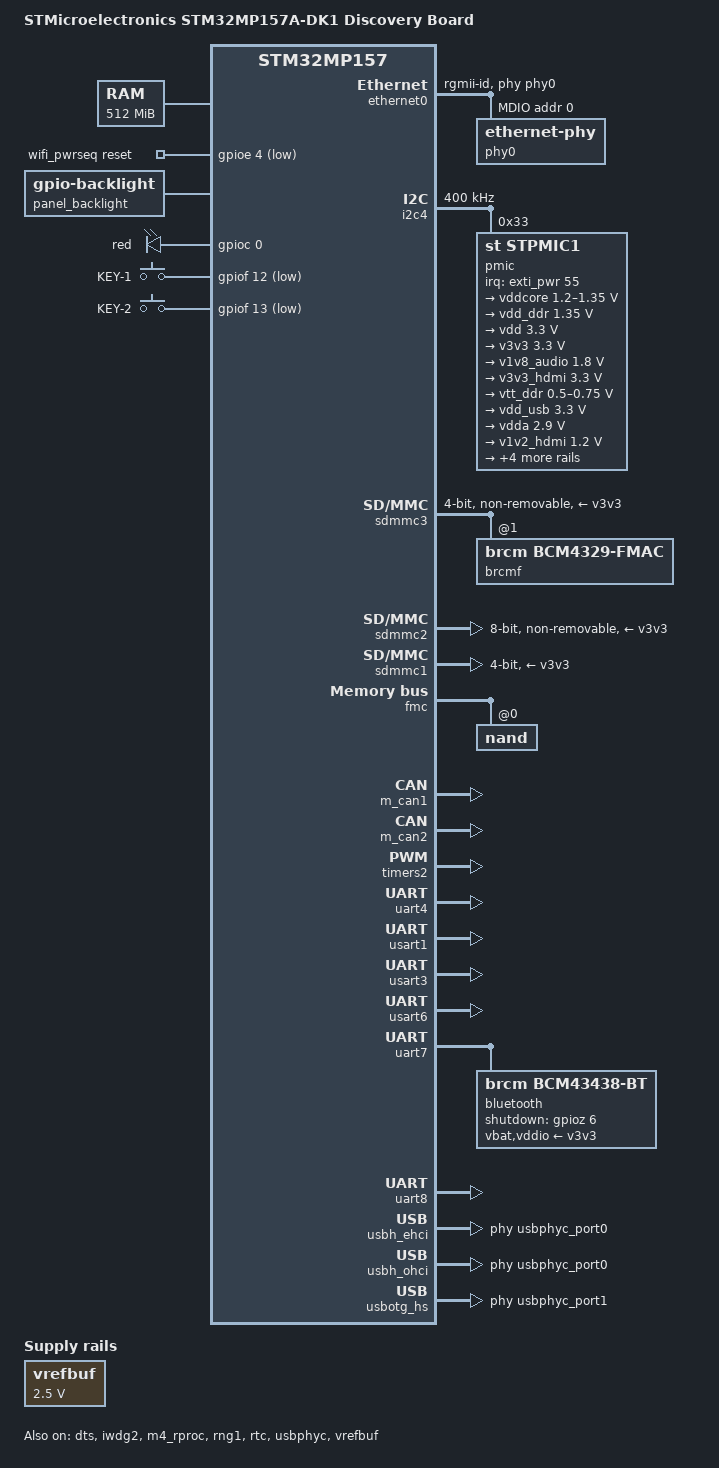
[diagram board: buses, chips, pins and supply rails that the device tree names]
// SPDX-License-Identifier: (GPL-2.0+ OR BSD-3-Clause)
/*
 * Copyright (C) STMicroelectronics 2018 - All Rights Reserved
 * Author: Alexandre Torgue <alexandre.torgue@st.com>.
 */

/dts-v1/;

#include "stm32mp157c.dtsi"
#include "stm32mp157cac-pinctrl.dtsi"
#include "stm32mp157c-m4-srm.dtsi"
#include <dt-bindings/input/input.h>
#include <dt-bindings/mfd/st,stpmic1.h>

/ {
	model = "STMicroelectronics STM32MP157A-DK1 Discovery Board";
	compatible = "st,stm32mp157a-dk1", "st,stm32mp157";

	aliases {
		ethernet0 = &ethernet0;
		serial0 = &uart4;    //debug uart
		serial1 = &usart1;   //初始化异常
		serial2 = &usart3;   //ok
		//serial3 = &uart5;  //默认用作can
		serial4 = &usart6;   //ok
		serial5 = &uart7;    //bt 初始化正常，但无设备节点
		serial6 = &uart8;    //ok
		//serial7 = &usart2; //冲突被占用
	};

	chosen {
		stdout-path = "serial0:115200n8";
	};

	memory@c0000000 {
		reg = <0xc0000000 0x20000000>;
	};

	wifi_pwrseq: wifi-pwrseq {
		compatible = "mmc-pwrseq-simple";
		reset-gpios = <&gpioe 4 GPIO_ACTIVE_LOW>;
	};
/*
	clocks {
		clk_ext_camera: clk-ext-camera {
			#clock-cells = <0>;
			compatible = "fixed-clock";
			clock-frequency = <24000000>;
		};
	};
*/
	panel_backlight: panel-backlight {
		compatible = "gpio-backlight";
		//gpios = <&gpioi 3 GPIO_ACTIVE_LOW>;
		default-on;
			
		status = "okay";
	};

	reserved-memory {
		#address-cells = <1>;
		#size-cells = <1>;
		ranges;

		retram: retram@0x38000000 {
			compatible = "shared-dma-pool";
			reg = <0x38000000 0x10000>;
			no-map;
		};

		mcuram: mcuram@0x30000000 {
			compatible = "shared-dma-pool";
			reg = <0x30000000 0x40000>;
			no-map;
		};

		mcuram2: mcuram2@0x10000000 {
			compatible = "shared-dma-pool";
			reg = <0x10000000 0x40000>;
			no-map;
		};

		vdev0vring0: vdev0vring0@10040000 {
			compatible = "shared-dma-pool";
			reg = <0x10040000 0x2000>;
			no-map;
		};

		vdev0vring1: vdev0vring1@10042000 {
			compatible = "shared-dma-pool";
			reg = <0x10042000 0x2000>;
			no-map;
		};

		vdev0buffer: vdev0buffer@10044000 {
			compatible = "shared-dma-pool";
			reg = <0x10044000 0x4000>;
			no-map;
		};

		gpu_reserved: gpu@d4000000 {
			reg = <0xd4000000 0x4000000>;
			no-map;
		};
	};

	sram: sram@10050000 {
		compatible = "mmio-sram";
		reg = <0x10050000 0x10000>;
		#address-cells = <1>;
		#size-cells = <1>;
		ranges = <0 0x10050000 0x10000>;

		dma_pool: dma_pool@0 {
			reg = <0x0 0x10000>;
			pool;
		};
	};

	led {
		compatible = "gpio-leds";
//		blue {
//			label = "heartbeat";
//			gpios = <&gpiod 11 GPIO_ACTIVE_HIGH>;
//			linux,default-trigger = "heartbeat";
//			default-state = "off";
//		};
            red {
                label = "red";
                gpios = <&gpioc 0 GPIO_ACTIVE_HIGH>;
                linux,default-trigger = "heartbeat";
                status = "okay";
            };
	};
	
	gpio-keys {
		compatible = "gpio-keys";
		pinctrl-names = "default";
		//pinctrl-0 = <&pinctrl_gpio_keys>;

		key1 {
			label = "KEY-1";
			linux,code = <KEY_1>;
			gpios = <&gpiof 12 GPIO_ACTIVE_LOW>;
		};
		key2 {
			label = "KEY-2";
			linux,code = <KEY_2>;
			gpios = <&gpiof 13 GPIO_ACTIVE_LOW>;
		};

	};

	
	usb_phy_tuning: usb-phy-tuning {
		st,hs-dc-level = <2>;
		st,fs-rftime-tuning;
		st,hs-rftime-reduction;
		st,hs-current-trim = <15>;
		st,hs-impedance-trim = <1>;
		st,squelch-level = <3>;
		st,hs-rx-offset = <2>;
		st,no-lsfs-sc;
	};
};

&adc {
	pinctrl-names = "default";
	pinctrl-0 = <&adc12_ain_pins_a>, <&adc12_usb_pwr_pins_a>;
	vdd-supply = <&vdd>;
	vdda-supply = <&vdd>;
	vref-supply = <&vrefbuf>;
	status = "disabled";
	adc1: adc@0 {
		/*
		 * Type-C USB_PWR_CC1 & USB_PWR_CC2 on in18 & in19.
		 * Use at least 5 * RC time, e.g. 5 * (Rp + Rd) * C:
		 * 5 * (56 + 47kOhms) * 5pF => 2.5us.
		 * Use arbitrary margin here (e.g. 5µs).
		 */
		st,min-sample-time-nsecs = <5000>;
		/* AIN connector, USB Type-C CC1 & CC2 */
		st,adc-channels = <0 1 6 13 18 19>;
		status = "okay";
	};
	adc2: adc@100 {
		/* AIN connector, temp sensor, USB Type-C CC1 & CC2 */
		st,adc-channels = <0 1 2 6 12 18 19>;
		/* temperature sensor min sample time */
		st,min-sample-time-nsecs = <10000>;
		status = "okay";
	};
	adc_temp: temp {
		status = "okay";
	};
};


&cpu0{
	cpu-supply = <&vddcore>;
};

&cpu1{
	cpu-supply = <&vddcore>;
};

&dma1 {
	sram = <&dma_pool>;
};

&dma2 {
	sram = <&dma_pool>;
};

&dts {
	status = "okay";
};

&ethernet0 {
	status = "okay";
	pinctrl-0 = <&ethernet0_rgmii_pins_a>;
	pinctrl-1 = <&ethernet0_rgmii_pins_sleep_a>;
	pinctrl-names = "default", "sleep";
	phy-mode = "rgmii-id";
	max-speed = <1000>;
	phy-handle = <&phy0>;

	mdio0 {
		#address-cells = <1>;
		#size-cells = <0>;
		compatible = "snps,dwmac-mdio";
		phy0: ethernet-phy@0 {
			reg = <0>;
		};
	};
};


&gpu {
	contiguous-area = <&gpu_reserved>;
	status = "disabled";
};

/*
&i2c1 {
	pinctrl-names = "default", "sleep";
	pinctrl-0 = <&i2c1_pins_a>;
	pinctrl-1 = <&i2c1_pins_sleep_a>;
	i2c-scl-rising-time-ns = <100>;
	i2c-scl-falling-time-ns = <7>;
	status = "okay";
	/delete-property/dmas;
	/delete-property/dma-names;

	cs42l51: cs42l51@4a {
		compatible = "cirrus,cs42l51";
		reg = <0x4a>;
		#sound-dai-cells = <0>;
		status = "disable";

		//VL-supply = <&v3v3>;
		//VD-supply = <&v1v8_audio>;
		//VA-supply = <&v1v8_audio>;
		//VAHP-supply = <&v1v8_audio>;

		reset-gpios = <&gpiog 9 GPIO_ACTIVE_LOW>;

		clocks = <&sai2a>;
		clock-names = "MCLK";

		cs42l51_port: port {
			#address-cells = <1>;
			#size-cells = <0>;

			cs42l51_tx_endpoint: endpoint@0 {
				reg = <0>;
				remote-endpoint = <&sai2a_endpoint>;
				frame-master;
				bitclock-master;
			};

			cs42l51_rx_endpoint: endpoint@1 {
				reg = <1>;
				remote-endpoint = <&sai2b_endpoint>;
				frame-master;
				bitclock-master;
			};
		};
	};
};
*/

&i2c4 {
	pinctrl-names = "default", "sleep";
	pinctrl-0 = <&i2c4_pins_a>;
	pinctrl-1 = <&i2c4_pins_sleep_a>;
	i2c-scl-rising-time-ns = <185>;
	i2c-scl-falling-time-ns = <20>;
	clock-frequency = <400000>;
	status = "okay";
	/delete-property/dmas;
	/delete-property/dma-names;
/*
	typec: stusb1600@28 {
		compatible = "st,stusb1600";
		reg = <0x28>;
		interrupts = <11 IRQ_TYPE_EDGE_FALLING>;
		interrupt-parent = <&gpioi>;
		pinctrl-names = "default";
		pinctrl-0 = <&stusb1600_pins_a>;
		status = "okay";

		typec_con: connector {
			compatible = "usb-c-connector";
			label = "USB-C";
			power-role = "dual";
			power-opmode = "default";
		};
	};
*/
	pmic: stpmic@33 {
		compatible = "st,stpmic1";
		reg = <0x33>;
		interrupts-extended = <&exti_pwr 55 IRQ_TYPE_EDGE_FALLING>;
		interrupt-controller;
		#interrupt-cells = <2>;
		status = "okay";
		wakeup-source;

		regulators {
			compatible = "st,stpmic1-regulators";

			ldo1-supply = <&v3v3>;
			ldo3-supply = <&vdd_ddr>;
			ldo6-supply = <&v3v3>;
			pwr_sw1-supply = <&bst_out>;
			pwr_sw2-supply = <&bst_out>;

			vddcore: buck1 {
				regulator-name = "vddcore";
				regulator-min-microvolt = <1200000>;
				regulator-max-microvolt = <1350000>;
				regulator-always-on;
				regulator-initial-mode = <0>;
				regulator-over-current-protection;
			};

			vdd_ddr: buck2 {
				regulator-name = "vdd_ddr";
				regulator-min-microvolt = <1350000>;
				regulator-max-microvolt = <1350000>;
				regulator-always-on;
				regulator-initial-mode = <0>;
				regulator-over-current-protection;
			};

			vdd: buck3 {
				regulator-name = "vdd";
				regulator-min-microvolt = <3300000>;
				regulator-max-microvolt = <3300000>;
				regulator-always-on;
				st,mask-reset;
				regulator-initial-mode = <0>;
				regulator-over-current-protection;
			};

			v3v3: buck4 {
				regulator-name = "v3v3";
				regulator-min-microvolt = <3300000>;
				regulator-max-microvolt = <3300000>;
				regulator-always-on;
				regulator-over-current-protection;
				regulator-initial-mode = <0>;
			};

			v1v8_audio: ldo1 {
				regulator-name = "v1v8_audio";
				regulator-min-microvolt = <1800000>;
				regulator-max-microvolt = <1800000>;
				regulator-always-on;
				interrupts = <IT_CURLIM_LDO1 0>;

			};

			v3v3_hdmi: ldo2 {
				regulator-name = "v3v3_hdmi";
				regulator-min-microvolt = <3300000>;
				regulator-max-microvolt = <3300000>;
				regulator-always-on;
				interrupts = <IT_CURLIM_LDO2 0>;

			};

			vtt_ddr: ldo3 {
				regulator-name = "vtt_ddr";
				regulator-min-microvolt = <500000>;
				regulator-max-microvolt = <750000>;
				regulator-always-on;
				regulator-over-current-protection;
			};

			vdd_usb: ldo4 {
				regulator-name = "vdd_usb";
				regulator-min-microvolt = <3300000>;
				regulator-max-microvolt = <3300000>;
				interrupts = <IT_CURLIM_LDO4 0>;
			};

			vdda: ldo5 {
				regulator-name = "vdda";
				regulator-min-microvolt = <2900000>;
				regulator-max-microvolt = <2900000>;
				interrupts = <IT_CURLIM_LDO5 0>;
				regulator-boot-on;
			};

			v1v2_hdmi: ldo6 {
				regulator-name = "v1v2_hdmi";
				regulator-min-microvolt = <1200000>;
				regulator-max-microvolt = <1200000>;
				regulator-always-on;
				interrupts = <IT_CURLIM_LDO6 0>;

			};

			vref_ddr: vref_ddr {
				regulator-name = "vref_ddr";
				regulator-always-on;
				regulator-over-current-protection;
			};

			 bst_out: boost {
				regulator-name = "bst_out";
				interrupts = <IT_OCP_BOOST 0>;
			 };

			vbus_otg: pwr_sw1 {
				regulator-name = "vbus_otg";
				interrupts = <IT_OCP_OTG 0>;
			 };

			 vbus_sw: pwr_sw2 {
				regulator-name = "vbus_sw";
				interrupts = <IT_OCP_SWOUT 0>;
				regulator-active-discharge = <1>;
			 };
		};

		onkey {
			compatible = "st,stpmic1-onkey";
			interrupts = <IT_PONKEY_F 0>, <IT_PONKEY_R 0>;
			interrupt-names = "onkey-falling", "onkey-rising";
			power-off-time-sec = <10>;
			status = "okay";
		};

		watchdog {
			compatible = "st,stpmic1-wdt";
			status = "disabled";
		};
	};
};

&i2c5 {
	pinctrl-names = "default", "sleep";
	pinctrl-0 = <&i2c5_pins_a>;
	pinctrl-1 = <&i2c5_pins_sleep_a>;
	/delete-property/dmas;
	/delete-property/dma-names;
	status = "disabled";
};

&ipcc {
	status = "okay";
};

&iwdg2 {
	timeout-sec = <32>;
	status = "okay";
};
/*
&ltdc {
	pinctrl-names = "default", "sleep";
	pinctrl-0 = <&ltdc_pins_a>;
	pinctrl-1 = <&ltdc_pins_sleep_a>;
	status = "okay";

	port {
		#address-cells = <1>;
		#size-cells = <0>;

		ltdc_ep0_out: endpoint@0 {
			reg = <0>;
			remote-endpoint = <&sii9022_in>;
		};
	};
};
*/
&m4_rproc {
	memory-region = <&retram>, <&mcuram>, <&mcuram2>, <&vdev0vring0>,
			<&vdev0vring1>, <&vdev0buffer>;
	mboxes = <&ipcc 0>, <&ipcc 1>, <&ipcc 2>;
	mbox-names = "vq0", "vq1", "shutdown";
	interrupt-parent = <&exti>;
	interrupts = <68 1>;
	interrupt-names = "wdg";
	wakeup-source;
	recovery;
	status = "okay";
};

&pwr {
	pwr-regulators {
		vdd-supply = <&vdd>;
		vdd_3v3_usbfs-supply = <&vdd_usb>;
	};
};

&rng1 {
	status = "okay";
};

//&rtc {
//	st,lsco = <RTC_OUT2_RMP>;
//	pinctrl-0 = <&rtc_out2_rmp_pins_a>;
//	pinctrl-names = "default";
//};

&rtc {
	status = "okay";
};



/* Wifi */
&sdmmc3 {
	arm,primecell-periphid = <0x10153180>;
	pinctrl-names = "default", "opendrain", "sleep";
	pinctrl-0 = <&sdmmc3_b4_pins_a>;
	pinctrl-1 = <&sdmmc3_b4_od_pins_a>;
	pinctrl-2 = <&sdmmc3_b4_sleep_pins_a>;
	non-removable;
	st,neg-edge;
	bus-width = <4>;
	vmmc-supply = <&v3v3>;
	mmc-pwrseq = <&wifi_pwrseq>;
	#address-cells = <1>;
	#size-cells = <0>;
	keep-power-in-suspend;
	status = "okay";

	brcmf: bcrmf@1 {
		reg = <1>;
		compatible = "brcm,bcm4329-fmac";
	};
};

/*emmc*/
&sdmmc2 {
        pinctrl-names = "default", "opendrain", "sleep";
        pinctrl-0 = <&sdmmc2_b4_pins_a &sdmmc2_d47_pins_a>;
        pinctrl-1 = <&sdmmc2_b4_od_pins_a &sdmmc2_d47_pins_a>;
        pinctrl-2 = <&sdmmc2_b4_sleep_pins_a &sdmmc2_d47_sleep_pins_a>;
        non-removable;
        no-sd;
        no-sdio;
        st,neg-edge;
        bus-width = <8>;
        vmmc-supply = <&v3v3>;
        vqmmc-supply = <&v3v3>;
        mmc-ddr-3_3v;
        status = "okay";
};

/*SD card*/
&sdmmc1 {
	pinctrl-names = "default", "opendrain", "sleep";
	pinctrl-0 = <&sdmmc1_b4_pins_a>;
	pinctrl-1 = <&sdmmc1_b4_od_pins_a>;
	pinctrl-2 = <&sdmmc1_b4_sleep_pins_a>;
	broken-cd;
	st,neg-edge;
	bus-width = <4>;
	vmmc-supply = <&v3v3>;
	status = "okay";
};

/*nand*/
&fmc {
    pinctrl-names = "default", "sleep";
    pinctrl-0 = <&fmc_pins_a>;
    pinctrl-1 = <&fmc_sleep_pins_a>;
    status = "okay";
    #address-cells = <1>;
    #size-cells = <0>;
                             
    nand: nand@0 {
          reg = <0>;
          nand-on-flash-bbt;
          #address-cells = <1>;
          #size-cells = <1>;
          nand-ecc-strength = <4>;
          nand-ecc-step-size = <512>;
    };                                                                                                                                                                                                 
};

/*can*/
&m_can1 {
	pinctrl-names = "default", "sleep";
	pinctrl-0 = <&m_can1_pins_a>;
	pinctrl-1 = <&m_can1_sleep_pins_a>;
	status = "okay";
};

&m_can2 {
	pinctrl-names = "default", "sleep";
	pinctrl-0 = <&m_can2_pins_a>;
	pinctrl-1 = <&m_can2_sleep_pins_a>;
	status = "okay";
};



/*
&spi5 {
	pinctrl-names = "default", "sleep";
	pinctrl-0 = <&spi5_pins_a>;
	pinctrl-1 = <&spi5_sleep_pins_a>;
	status = "disabled";
};

&timers1 {
	// spare dmas for other usage 
	/delete-property/dmas;
	/delete-property/dma-names;
	status = "disabled";
	pwm {
		pinctrl-0 = <&pwm1_pins_a>;
		pinctrl-1 = <&pwm1_sleep_pins_a>;
		pinctrl-names = "default", "sleep";
		status = "okay";
	};
	timer@0 {
		status = "okay";
	};
};
*/

&timers2 {
	// spare dmas for other usage 
	/delete-property/dmas;
	/delete-property/dma-names;
	status = "okay";
	pwm {
		pinctrl-0 = <&pwm2_pins_a>;
		pinctrl-1 = <&pwm2_sleep_pins_a>;
		pinctrl-names = "default", "sleep";
		status = "okay";
	};
	timer@1 {
		status = "okay";
	};
};
/*
&timers3 {
	/delete-property/dmas;
	/delete-property/dma-names;
	status = "okay";
	pwm {
		pinctrl-0 = <&pwm3_pins_a>;
		pinctrl-1 = <&pwm3_sleep_pins_a>;
		pinctrl-names = "default", "sleep";
		status = "okay";
	};
	timer@2 {
		status = "okay";
	};
};

&timers4 {
	/delete-property/dmas;
	/delete-property/dma-names;
	status = "disabled";
	pwm {
		pinctrl-0 = <&pwm4_pins_a &pwm4_pins_b>;
		pinctrl-1 = <&pwm4_sleep_pins_a &pwm4_sleep_pins_b>;
		pinctrl-names = "default", "sleep";
		status = "okay";
	};
	timer@3 {
		status = "okay";
	};
};

&timers5 {
	/delete-property/dmas;
	/delete-property/dma-names;
	status = "disabled";
	pwm {
		pinctrl-0 = <&pwm5_pins_a>;
		pinctrl-1 = <&pwm5_sleep_pins_a>;
		pinctrl-names = "default", "sleep";
		status = "okay";
	};
	timer@4 {
		status = "okay";
	};
};

&timers6 {
	status = "okay";
	// spare dmas for other usage 
	/delete-property/dmas;
	/delete-property/dma-names;
	timer@5 {
		status = "okay";
	};
};

&timers12 {
	/delete-property/dmas;
	/delete-property/dma-names;
	status = "disabled";
	pwm {
		pinctrl-0 = <&pwm12_pins_a>;
		pinctrl-1 = <&pwm12_sleep_pins_a>;
		pinctrl-names = "default", "sleep";
		status = "okay";
	};
	timer@11 {
		status = "okay";
	};
};
*/
&uart4 {
	pinctrl-names = "default", "sleep", "idle", "no_console_suspend";
	pinctrl-0 = <&uart4_pins_a>;
	pinctrl-1 = <&uart4_sleep_pins_a>;
	pinctrl-2 = <&uart4_idle_pins_a>;
	pinctrl-3 = <&uart4_pins_a>;
	/delete-property/dmas;
	/delete-property/dma-names;
	status = "okay";
};






&usart1 {
	pinctrl-names = "default", "sleep", "idle";
	pinctrl-0 = <&uart1_pins_a>;
	pinctrl-1 = <&uart1_sleep_pins_a>;
	pinctrl-2 = <&uart1_idle_pins_a>;
	status = "okay";
};


&usart3 {
	pinctrl-names = "default", "sleep", "idle";
	pinctrl-0 = <&usart3_pins_b>;
	pinctrl-1 = <&usart3_sleep_pins_b>;
	pinctrl-2 = <&usart3_idle_pins_b>;
	st,hw-flow-ctrl;
	status = "okay";
};
/*
// can default
&uart5 {
	pinctrl-names = "default", "sleep", "idle";
	pinctrl-0 = <&uart5_pins_a>;
	pinctrl-1 = <&uart5_sleep_pins_a>;
	pinctrl-2 = <&uart5_idle_pins_a>;
	/delete-property/dmas;
	/delete-property/dma-names;
	status = "okay";
};
*/

&usart6 {
	pinctrl-names = "default", "sleep", "idle";
	pinctrl-0 = <&uart6_pins_a>;
	pinctrl-1 = <&uart6_sleep_pins_a>;
	pinctrl-2 = <&uart6_idle_pins_a>;
	/delete-property/dmas;
	/delete-property/dma-names;
	status = "okay";
};


/* Bluetooth */
&uart7 {
	pinctrl-names = "default", "sleep", "idle";
	pinctrl-0 = <&uart7_pins_a>;
	pinctrl-1 = <&uart7_sleep_pins_a>;
	pinctrl-2 = <&uart7_idle_pins_a>;
	st,hw-flow-ctrl;
	///delete-property/dmas;
	///delete-property/dma-names;
	status = "okay";
	bluetooth {
		pinctrl-names = "default";
		pinctrl-0 = <&btreg0>;
		shutdown-gpios = <&gpioz 6 GPIO_ACTIVE_HIGH>;
		compatible = "brcm,bcm43438-bt";
		max-speed = <3000000>;
		vbat-supply = <&v3v3>;
		vddio-supply = <&v3v3>;
	};
};

&uart8 {
	pinctrl-names = "default", "sleep", "idle";
	pinctrl-0 = <&uart8_pins_a>;
	pinctrl-1 = <&uart8_sleep_pins_a>;
	pinctrl-2 = <&uart8_idle_pins_a>;
	/delete-property/dmas;
	/delete-property/dma-names;
	status = "okay";
};







&usbh_ehci {
	phys = <&usbphyc_port0>;
	phy-names = "usb";
	status = "okay";
};
&usbh_ohci {
   phys = <&usbphyc_port0>; 
   phy-names = "usb";
   status = "okay";
};
&usbotg_hs {
	//extcon = <&typec>;
	phys = <&usbphyc_port1 0>;
	phy-names = "usb2-phy";
	status = "okay";
};

&usbphyc {
	vdd3v3-supply = <&vdd_usb>;
	status = "okay";
};

&usbphyc_port0 {
	st,phy-tuning = <&usb_phy_tuning>;
};

&usbphyc_port1 {
	st,phy-tuning = <&usb_phy_tuning>;
};

&vrefbuf {
	regulator-min-microvolt = <2500000>;
	regulator-max-microvolt = <2500000>;
	vdda-supply = <&vdd>;
	status = "okay";
};
